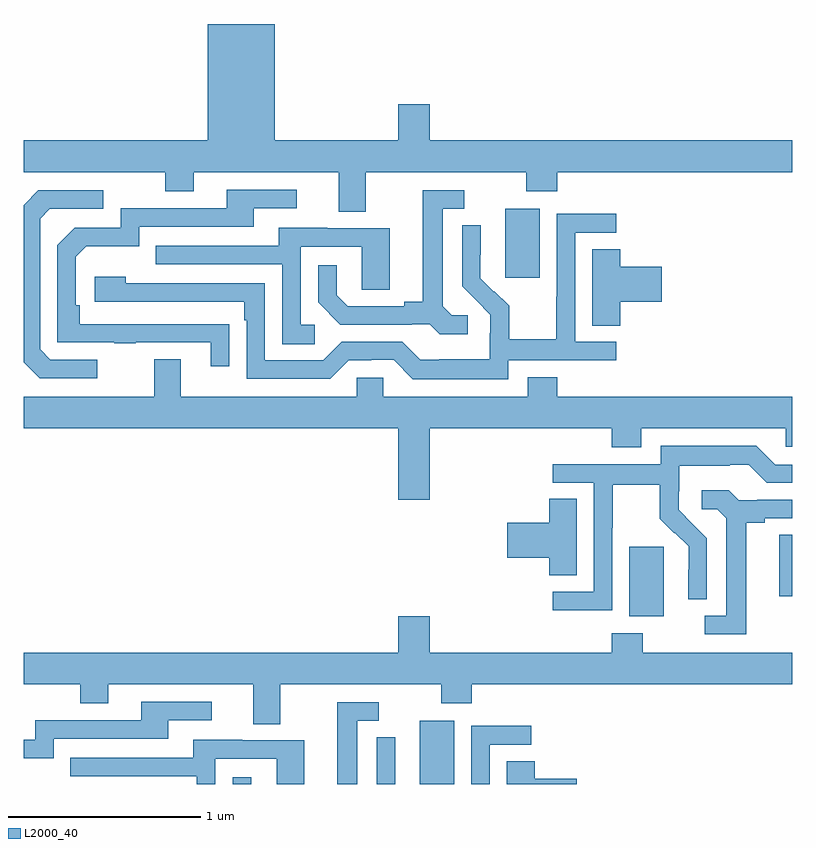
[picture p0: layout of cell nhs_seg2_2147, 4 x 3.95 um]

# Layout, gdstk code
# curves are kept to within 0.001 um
import gdstk
lib = gdstk.Library(unit=1e-6, precision=1e-09)
def R(c, l, rs):  # rectangles x0, y0, x1, y1
    for r in rs: c.add(gdstk.rectangle(r[:2], r[2:], *l))
def P(c, l, *ps):  # polygons
    for p in ps: c.add(gdstk.Polygon(p, *l))
L2000_40 = (2000, 40)

nhs_seg2_2147 = lib.new_cell('nhs_seg2_2147')
R(nhs_seg2_2147, L2000_40, [(224.088,629.8,224.185,629.836), (225.062,629.8,225.241,630.13), (226.151,630.674,226.33,631.035), (226.931,630.777,227,631.097), (225.506,632.433,225.685,632.794)])
P(nhs_seg2_2147, L2000_40, [(224.779,632.984),(225.616,632.984),(225.616,632.885),(225.776,632.885),(225.776,632.984),(227,632.984),(227,633.148),(225.112,633.148),(225.112,633.337),(224.948,633.337),(224.948,633.148),(224.308,633.148),(224.308,633.754),(223.958,633.754),(223.958,633.148),(223,633.148),(223,632.984),(223.738,632.984),(223.738,632.885),(223.885,632.885),(223.885,632.984),(224.639,632.984),(224.639,632.776),(224.779,632.776)],
  [(224.069,632.192),(223.292,632.193),(223.292,632.29),(223.272,632.29),(223.272,632.544),(223.325,632.597),(223.602,632.597),(223.602,632.7),(224.197,632.7),(224.197,632.796),(224.422,632.796),(224.422,632.892),(224.057,632.892),(224.057,632.796),(223.506,632.796),(223.506,632.694),(223.266,632.694),(223.176,632.604),(223.176,632.097),(223.471,632.097),(223.471,632.092),(223.583,632.092),(223.583,632.097),(223.973,632.097),(223.973,631.974),(224.069,631.974)],
  [(223.384,632.007),(223.14,632.007),(223.086,632.061),(223.086,632.742),(223.137,632.793),(223.414,632.793),(223.414,632.889),(223.077,632.889),(223,632.812),(223,631.995),(223.083,631.911),(223.384,631.911)],
  [(225.31,632.238),(225.228,632.238),(225.181,632.285),(225.181,632.793),(225.292,632.793),(225.292,632.889),(225.077,632.889),(225.077,632.309),(224.981,632.309),(224.981,632.286),(224.686,632.286),(224.629,632.343),(224.629,632.5),(224.532,632.5),(224.532,632.306),(224.648,632.19),(225.02,632.19),(225.02,632.193),(225.114,632.193),(225.166,632.141),(225.31,632.141)],
  [(225.522,632.004),(226.084,632.004),(226.084,632.1),(225.87,632.1),(225.87,632.667),(226.084,632.667),(226.084,632.766),(225.774,632.766),(225.774,632.336),(225.772,632.336),(225.772,632.113),(225.527,632.113),(225.527,632.287),(225.45,632.364),(225.447,632.361),(225.377,632.432),(225.378,632.708),(225.282,632.708),(225.282,632.39),(225.428,632.242),(225.428,632.145),(225.426,632.145),(225.426,632.011),(225.163,632.011),(225.163,632.007),(225.063,632.007),(224.97,632.1),(224.655,632.1),(224.559,632.004),(224.256,632.004),(224.256,632.406),(223.532,632.406),(223.532,632.44),(223.371,632.44),(223.371,632.31),(224.147,632.31),(224.147,632.213),(224.16,632.213),(224.16,631.908),(224.595,631.908),(224.691,632.004),(224.81,632.004),(224.81,632.007),(224.925,632.007),(225.025,631.907),(225.522,631.907)],
  [(224.515,632.19),(224.442,632.19),(224.442,632.595),(224.76,632.595),(224.76,632.371),(224.905,632.371),(224.905,632.691),(224.581,632.691),(224.581,632.695),(224.327,632.695),(224.327,632.601),(223.687,632.601),(223.687,632.505),(224.346,632.505),(224.346,632.089),(224.515,632.089)],
  [(226.103,632.309),(226.321,632.309),(226.321,632.492),(226.103,632.492),(226.103,632.582),(225.959,632.582),(225.959,632.185),(226.103,632.185)],
  [(225.112,631.652),(226.061,631.652),(226.061,631.553),(226.213,631.553),(226.213,631.652),(226.965,631.652),(226.965,631.554),(227,631.554),(227,631.816),(225.776,631.816),(225.776,631.915),(225.623,631.915),(225.623,631.816),(224.871,631.816),(224.871,631.914),(224.733,631.914),(224.733,631.816),(223.819,631.816),(223.819,632.011),(223.679,632.011),(223.679,631.816),(223,631.816),(223,631.652),(224.948,631.652),(224.948,631.278),(225.112,631.278)],
  [(226.062,631.132),(226.065,631.132),(226.065,631.356),(226.309,631.356),(226.309,631.181),(226.386,631.104),(226.389,631.107),(226.46,631.037),(226.46,630.914),(226.458,630.914),(226.458,630.76),(226.554,630.76),(226.554,631.078),(226.408,631.226),(226.408,631.323),(226.41,631.323),(226.41,631.457),(226.673,631.457),(226.673,631.461),(226.773,631.461),(226.866,631.368),(227,631.368),(227,631.461),(226.911,631.461),(226.811,631.561),(226.314,631.561),(226.314,631.464),(225.753,631.464),(225.753,631.368),(225.966,631.368),(225.966,630.801),(225.753,630.801),(225.753,630.703),(226.062,630.703)],
  [(226.759,631.16),(226.855,631.16),(226.855,631.182),(227,631.182),(227,631.278),(226.816,631.278),(226.816,631.275),(226.722,631.275),(226.67,631.327),(226.527,631.327),(226.527,631.23),(226.608,631.23),(226.655,631.183),(226.655,630.675),(226.545,630.675),(226.545,630.579),(226.759,630.579)],
  [(225.877,631.283),(225.734,631.283),(225.734,631.16),(225.516,631.16),(225.516,630.977),(225.734,630.977),(225.734,630.886),(225.877,630.886)],
  [(224.335,630.32),(225.172,630.32),(225.172,630.221),(225.332,630.221),(225.332,630.32),(227,630.32),(227,630.484),(226.221,630.484),(226.221,630.583),(226.061,630.583),(226.061,630.484),(225.112,630.484),(225.112,630.673),(224.948,630.673),(224.948,630.484),(223,630.484),(223,630.32),(223.294,630.32),(223.294,630.221),(223.441,630.221),(223.441,630.32),(224.195,630.32),(224.195,630.112),(224.335,630.112)],
  [(223.158,630.036),(223.753,630.036),(223.753,630.132),(223.978,630.132),(223.978,630.228),(223.613,630.228),(223.613,630.132),(223.062,630.132),(223.062,630.03),(223,630.03),(223,629.933),(223.158,629.933)],
  [(224.737,630.129),(224.848,630.129),(224.848,630.225),(224.633,630.225),(224.633,629.8),(224.737,629.8)],
  [(225.426,630.003),(225.64,630.003),(225.64,630.102),(225.33,630.102),(225.33,629.8),(225.426,629.8)],
  [(224.933,629.89),(224.934,629.89),(224.934,630.044),(224.838,630.044),(224.838,629.8),(224.933,629.8)],
  [(223.998,629.931),(224.316,629.931),(224.316,629.8),(224.461,629.8),(224.461,630.027),(224.137,630.027),(224.137,630.031),(223.883,630.031),(223.883,629.937),(223.243,629.937),(223.243,629.841),(223.902,629.841),(223.902,629.8),(223.998,629.8)],
  [(225.877,629.828),(225.659,629.828),(225.659,629.918),(225.515,629.918),(225.515,629.8),(225.877,629.8)])

lib.write_gds('nhs_seg2_2147.gds')
